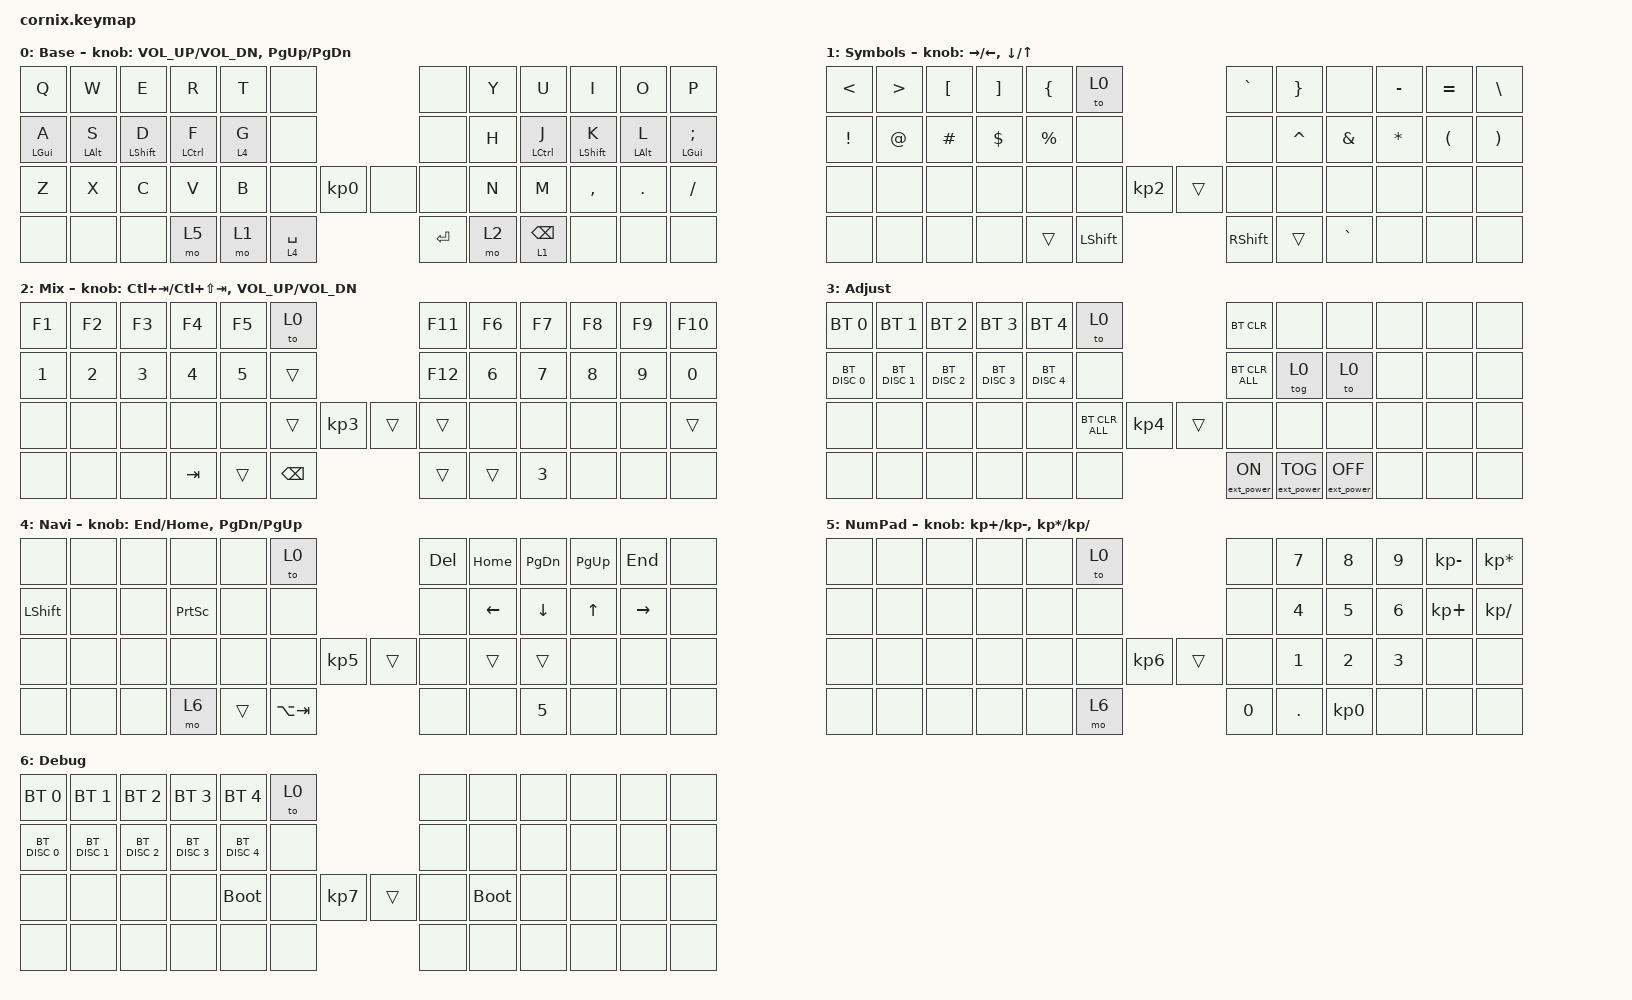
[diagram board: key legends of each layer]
/*
 * Copyright (c) 2020 The ZMK Contributors
 *
 * SPDX-License-Identifier: MIT
 */

#include "zmk-helpers/helper.h"
#include "includes/cornix54.h"

// Homerow mods — urob 流 "timeless homerow mods" (2026-06 再導入)
// 参考: https://github.com/urob/zmk-config/tree/main#timeless-homerow-mods
// 設計目標: 速い連打中は mod を一切出さず即タップ (require-prior-idle ゲート)、
//           一拍置いた単独 hold のみ mod 化する。Shift も含め全 mod 一律値。
// 旧 filterpaper/Townk 流 (prior-idle 0〜105) は速打時に Shift が暴発しテンポを
// 乱したため撤廃 (2026-05 の HM 撤去理由はこの設定ミスが主因と再診断)。

#define HM_TAPPING_TERM 280           // urob 流: 280ms (prior-idle ゲートがあるため長くても無害)
#define HM_PRIOR_IDLE 150             // urob 流: 150ms — timeless の肝。直前打鍵から 150ms 以内は即タップ
#define HM_QUICK_TAP 175              // urob 流: 175ms — 連打/リピート時の即時再タップ
#define COMBO_TERM 30          // 同指縦コンボ用: 指間ズレが無いので短く (ロール誤爆抑止)
#define COMBO_TERM_HORIZ 60    // 別指横並び用: 中指先行/相方指の遅れを吸収する緩め timeout
#define COMBO_TERM_WIDE 75     // index+小指 (J+; 等) 用: 小指の遅れを吸収 (FN 対策)
#define COMBO_IDLE 175         // combo 既定 require-prior-idle-ms: 打鍵流中は combo を無効化
#define BASE   0
#define LOWER  1
#define RAISE  2
#define ADJUST 3
#define NAVI   4
#define NUM    5
#define DEBUG  6

// https://github.com/urob/zmk-config/tree/main#timeless-homerow-mods

#define KEYS_L LT0 LT1 LT2 LT3 LT4 LT5 LM0 LM1 LM2 LM3 LM4 LM5 LB0 LB1 LB2 LB3 LB4 LB5  // left hand
#define KEYS_R RT0 RT1 RT2 RT3 RT4 RT5 RM0 RM1 RM2 RM3 RM4 RM5 RB0 RB1 RB2 RB3 RB4 RB5  // right hand
#define THUMBS LH1 LH0 RH0 RH1
#define KEYS_T LH1 LH0 RH0 RH1
#define ZMK_POINTING_DEFAULT_SCRL_VAL 15

#include <behaviors.dtsi>
#include <dt-bindings/zmk/bt.h>
#include <dt-bindings/zmk/ext_power.h>
#include <dt-bindings/zmk/keys.h>

/ {
    // Activate ADJUST layer by pressing raise and lower

    behaviors {
        hm_l: homerow_mods_left {
            compatible = "zmk,behavior-hold-tap";
            #binding-cells = <2>;
            bindings = <&kp>, <&kp>;

            flavor = "balanced";
            tapping-term-ms = <HM_TAPPING_TERM>;
            quick-tap-ms = <HM_QUICK_TAP>;
            require-prior-idle-ms = <HM_PRIOR_IDLE>;
            hold-trigger-key-positions = <KEYS_R KEYS_T>;
            hold-trigger-on-release;
        };

        hm_r: homerow_mods_right {
            compatible = "zmk,behavior-hold-tap";
            #binding-cells = <2>;
            bindings = <&kp>, <&kp>;

            flavor = "balanced";
            tapping-term-ms = <HM_TAPPING_TERM>;
            quick-tap-ms = <HM_QUICK_TAP>;
            require-prior-idle-ms = <HM_PRIOR_IDLE>;
            hold-trigger-key-positions = <KEYS_L KEYS_T>;
            hold-trigger-on-release;
        };

        // hm_shift_l / hm_shift_r (Townk 流 prior-idle=0) は 2026-06 に撤去。
        // 速打時の Shift 暴発源だったため、Shift も hm_l/hm_r の一律 timeless 値へ統一。
        /*
         * Non-Positional Homerow Mods
         * Used for &mm_grescm_gui behavior on left hand.
         *
         * Usage: &hm LSHFT T
         * Tap: T
         * Tap-Tap-Hold: Repeat T
         * Hold: LSHIFT
         */

        hm: homerow_mods {
            compatible = "zmk,behavior-hold-tap";
            #binding-cells = <2>;
            bindings = <&kp>, <&kp>;

            flavor = "balanced";
            tapping-term-ms = <HM_TAPPING_TERM>;
            quick-tap-ms = <200>;
        };

        bs_del: bs_del {
            compatible = "zmk,behavior-mod-morph";
            #binding-cells = <0>;
            bindings = <&kp BSPC>, <&kp DEL>;

            mods = <(MOD_LSFT|MOD_RSFT)>;
        };

        lt: layer_tap {
            compatible = "zmk,behavior-hold-tap";
            #binding-cells = <2>;
            bindings = <&mo>, <&kp>;

            flavor = "hold-preferred";
            tapping-term-ms = <HM_TAPPING_TERM>;
            quick-tap-ms = <200>;
        };

        // lt_g: tap-preferred layer-tap (used for G → Navi)
        // 値は main ブランチ準拠 (filterpaper 流の HM 定数を継承せず固定)
        // ユーザの打鍵感覚で main の挙動が最も自然と確認済み (2026-05-29)

        lt_g: layer_tap_g {
            compatible = "zmk,behavior-hold-tap";
            #binding-cells = <2>;
            bindings = <&mo>, <&kp>;

            flavor = "tap-preferred";
            tapping-term-ms = <250>;
            quick-tap-ms = <200>;
            require-prior-idle-ms = <70>;
        };

        // urob zmk-leader-key モジュール (2026-06 導入)
        // 開始キー (combo E+I) → 後続の並びで IDE ジェスチャ等を発火する namespace。
        // このモジュール版は timeout/layers/immediate-trigger を持たない:
        //   有効な並びが揃うまで待機し、無効キーで中断する (せかされない代わりに宙ぶらりんに注意)。
        // 並びはキーコード列 (README の <U S B>=“usb” と同形式)。bindings には任意 behavior/マクロ可。

        leader: leader {
            compatible = "zmk,behavior-leader-key";
            #binding-cells = <0>;

            ldr_cc {
                sequence = <C C>;
                bindings = <&ctrl_ctrl>;
            };    // leader→c c : Ctrl 二連打
            ldr_ss {
                sequence = <S S>;
                bindings = <&shift_shift>;
            };  // leader→s s : Shift 二連打
            // 追加例: ldr_run { sequence = <R>; bindings = <&kp F10 等>; };
            //   Run/Debug は IDE のショートカット (例 IntelliJ: Shift+F10/F9) を教われば足せる。
        };

        // === combo 用 mod-morph (shift / alt 連動) ===

        cm_quote: cm_quote {
            compatible = "zmk,behavior-mod-morph";
            #binding-cells = <0>;
            bindings = <&kp SQT>, <&kp DQT>;

            mods = <(MOD_LSFT|MOD_RSFT)>;
        };

        cm_lpar: cm_lpar {
            compatible = "zmk,behavior-mod-morph";
            #binding-cells = <0>;
            bindings = <&kp LPAR>, <&kp LT>;

            mods = <(MOD_LSFT|MOD_RSFT)>;
        };

        cm_rpar: cm_rpar {
            compatible = "zmk,behavior-mod-morph";
            #binding-cells = <0>;
            bindings = <&kp RPAR>, <&kp GT>;

            mods = <(MOD_LSFT|MOD_RSFT)>;
        };

        cm_lbkt: cm_lbkt {
            compatible = "zmk,behavior-mod-morph";
            #binding-cells = <0>;
            bindings = <&kp LBKT>, <&kp LBRC>;

            mods = <(MOD_LSFT|MOD_RSFT)>;
        };

        cm_rbkt: cm_rbkt {
            compatible = "zmk,behavior-mod-morph";
            #binding-cells = <0>;
            bindings = <&kp RBKT>, <&kp RBRC>;

            mods = <(MOD_LSFT|MOD_RSFT)>;
        };

        // df combo: 通常は leader、Alt 保持中は Tab (keep-mods で Alt を残し Alt+Tab に)

        df_lead: df_lead {
            compatible = "zmk,behavior-mod-morph";
            #binding-cells = <0>;
            bindings = <&leader>, <&kp TAB>;

            mods = <(MOD_LALT|MOD_RALT)>;
            keep-mods = <(MOD_LALT|MOD_RALT)>;
        };
    };

    conditional_layers {
        compatible = "zmk,conditional-layers";

        adjust_layer {
            if-layers = <2 1>;
            then-layer = <3>;
        };
    };

    combos {
        compatible = "zmk,combos";

        // 全 combo 共通: timeout-ms=COMBO_TERM(30) でロール誤爆抑止 / require-prior-idle-ms=COMBO_IDLE(175)。
        // 不発が出たら個別に timeout-ms を上げる。とくに「同指縦コンボ」(ws/ed/rf/tg/yh/uj/ik/ol,
        // sx/dc/fv/gb/hn/jm/k,/l.) は構造上ロール誤爆に強いが timeout=30 で不発になりやすい筆頭。
        // --- 編集 / ナビ ---

        cb_kp_esc {
            key-positions = <1 2>;
            bindings = <&kp ESC>;
            layers = <0>;
            timeout-ms = <COMBO_TERM>;
            require-prior-idle-ms = <COMBO_IDLE>;
        };  // W+E
        cb_kp_tab {
            key-positions = <13 14>;
            bindings = <&kp TAB>;
            layers = <0>;
            timeout-ms = <COMBO_TERM>;
            require-prior-idle-ms = <COMBO_IDLE>;
        };  // S+D
        cb_kp_del {
            key-positions = <8 9>;
            bindings = <&kp DEL>;
            layers = <0>;
            timeout-ms = <COMBO_TERM_HORIZ>;
            require-prior-idle-ms = <COMBO_IDLE>;
        };  // U+I  (横並び: 緩め)
        cb_kp_bs {
            key-positions = <9 10>;
            bindings = <&bs_del>;
            layers = <0>;
            timeout-ms = <COMBO_TERM_HORIZ>;
            require-prior-idle-ms = <COMBO_IDLE>;
        };  // I+O  (Shift=DEL, 横並び: 緩め)
        cb_kp_insert {
            key-positions = <10 20>;
            bindings = <&kp INS>;
            layers = <0>;
            timeout-ms = <COMBO_TERM_HORIZ>;
            require-prior-idle-ms = <COMBO_IDLE>;
        };  // O+J  (横並び: 緩め)
        cb_kp_enter {
            key-positions = <20 23>;
            bindings = <&kp ENTER>;
            layers = <0>;
            timeout-ms = <COMBO_TERM_WIDE>;
            require-prior-idle-ms = <COMBO_IDLE>;
        };  // J+; (widechord)
        cb_leader {
            key-positions = <14 15>;
            bindings = <&df_lead>;
            layers = <0>;
            timeout-ms = <COMBO_TERM>;
            require-prior-idle-ms = <COMBO_IDLE>;
        };  // D+F = leader / Alt+Tab
        // --- 記号 (単純 &kp) ---

        cb_at {
            key-positions = <1 13>;
            bindings = <&kp AT>;
            layers = <0>;
            timeout-ms = <COMBO_TERM>;
            require-prior-idle-ms = <COMBO_IDLE>;
        };  // W+S
        cb_hash {
            key-positions = <2 14>;
            bindings = <&kp HASH>;
            layers = <0>;
            timeout-ms = <COMBO_TERM>;
            require-prior-idle-ms = <COMBO_IDLE>;
        };  // E+D
        cb_dollar {
            key-positions = <3 15>;
            bindings = <&kp DOLLAR>;
            layers = <0>;
            timeout-ms = <COMBO_TERM>;
            require-prior-idle-ms = <COMBO_IDLE>;
        };  // R+F
        cb_percent {
            key-positions = <4 16>;
            bindings = <&kp PERCENT>;
            layers = <0>;
            timeout-ms = <COMBO_TERM>;
            require-prior-idle-ms = <COMBO_IDLE>;
        };  // T+G
        cb_caret {
            key-positions = <7 19>;
            bindings = <&kp CARET>;
            layers = <0>;
            timeout-ms = <COMBO_TERM>;
            require-prior-idle-ms = <COMBO_IDLE>;
        };  // Y+H
        cb_plus {
            key-positions = <8 20>;
            bindings = <&kp PLUS>;
            layers = <0>;
            timeout-ms = <COMBO_TERM>;
            require-prior-idle-ms = <COMBO_IDLE>;
        };  // U+J
        cb_asterisk {
            key-positions = <9 21>;
            bindings = <&kp ASTERISK>;
            layers = <0>;
            timeout-ms = <COMBO_TERM>;
            require-prior-idle-ms = <COMBO_IDLE>;
        };  // I+K
        cb_amp {
            key-positions = <10 22>;
            bindings = <&kp AMPERSAND>;
            layers = <0>;
            timeout-ms = <COMBO_TERM>;
            require-prior-idle-ms = <COMBO_IDLE>;
        };  // O+L
        cb_grave {
            key-positions = <13 25>;
            bindings = <&kp GRAVE>;
            layers = <0>;
            timeout-ms = <COMBO_TERM>;
            require-prior-idle-ms = <COMBO_IDLE>;
        };  // S+X
        cb_bslh {
            key-positions = <14 26>;
            bindings = <&kp BSLH>;
            layers = <0>;
            timeout-ms = <COMBO_TERM>;
            require-prior-idle-ms = <COMBO_IDLE>;
        };  // D+C
        cb_equal {
            key-positions = <15 27>;
            bindings = <&kp EQUAL>;
            layers = <0>;
            timeout-ms = <COMBO_TERM>;
            require-prior-idle-ms = <COMBO_IDLE>;
        };  // F+V
        cb_tilde {
            key-positions = <16 28>;
            bindings = <&kp TILDE>;
            layers = <0>;
            timeout-ms = <COMBO_TERM>;
            require-prior-idle-ms = <COMBO_IDLE>;
        };  // G+B (旧 Space を置換)
        cb_under {
            key-positions = <19 33>;
            bindings = <&kp UNDER>;
            layers = <0>;
            timeout-ms = <COMBO_TERM>;
            require-prior-idle-ms = <COMBO_IDLE>;
        };  // H+N
        cb_minus {
            key-positions = <20 34>;
            bindings = <&kp MINUS>;
            layers = <0>;
            timeout-ms = <COMBO_TERM>;
            require-prior-idle-ms = <COMBO_IDLE>;
        };  // J+M
        cb_fslh {
            key-positions = <21 35>;
            bindings = <&kp FSLH>;
            layers = <0>;
            timeout-ms = <COMBO_TERM>;
            require-prior-idle-ms = <COMBO_IDLE>;
        };  // K+,
        cb_pipe {
            key-positions = <22 36>;
            bindings = <&kp PIPE>;
            layers = <0>;
            timeout-ms = <COMBO_TERM>;
            require-prior-idle-ms = <COMBO_IDLE>;
        };  // L+.
        // --- 括弧 / 引用符 (shift 連動 mod-morph) ---

        cb_quote {
            key-positions = <20 22>;
            bindings = <&cm_quote>;
            layers = <0>;
            timeout-ms = <COMBO_TERM_HORIZ>;
            require-prior-idle-ms = <COMBO_IDLE>;
        };  // J+L: ' / "  (横並び: 緩め)
        cb_lpar {
            key-positions = <20 21>;
            bindings = <&cm_lpar>;
            layers = <0>;
            timeout-ms = <COMBO_TERM_HORIZ>;
            require-prior-idle-ms = <COMBO_IDLE>;
        };  // J+K: ( / <  (横並び: 緩め)
        cb_rpar {
            key-positions = <21 22>;
            bindings = <&cm_rpar>;
            layers = <0>;
            timeout-ms = <COMBO_TERM_HORIZ>;
            require-prior-idle-ms = <COMBO_IDLE>;
        };  // K+L: ) / >  (横並び: 緩め)
        cb_lbkt {
            key-positions = <34 35>;
            bindings = <&cm_lbkt>;
            layers = <0>;
            timeout-ms = <COMBO_TERM_HORIZ>;
            require-prior-idle-ms = <COMBO_IDLE>;
        };  // M+,: [ / {  (横並び: 緩め)
        cb_rbkt {
            key-positions = <35 36>;
            bindings = <&cm_rbkt>;
            layers = <0>;
            timeout-ms = <COMBO_TERM_HORIZ>;
            require-prior-idle-ms = <COMBO_IDLE>;
        };  // ,+.: ] / }  (横並び: 緩め)
        // --- Ins/Del 派生 ---

        cb_ctrl_ins {
            key-positions = <25 26>;
            bindings = <&kp LC(INS)>;
            layers = <0>;
            timeout-ms = <COMBO_TERM>;
            require-prior-idle-ms = <COMBO_IDLE>;
        };  // X+C
        cb_shift_ins {
            key-positions = <26 27>;
            bindings = <&kp LS(INS)>;
            layers = <0>;
            timeout-ms = <COMBO_TERM>;
            require-prior-idle-ms = <COMBO_IDLE>;
        };  // C+V
        cb_shift_del {
            key-positions = <25 27>;
            bindings = <&kp LS(DEL)>;
            layers = <0>;
            timeout-ms = <COMBO_TERM>;
            require-prior-idle-ms = <COMBO_IDLE>;
        };  // X+V
    };

    macros {
        // my_macro_zenhan (Alt+`) を撤去 (2026-06: zenhan combo 撤去で参照ゼロの dead code 化)。
        //   全/半 切替を再度キーに割り当てたくなったら、この Alt+` tap マクロを復活させる。
        // IDE ジェスチャ: 同一修飾の二連打 (host に double-tap として検出させる)
        // wait/tap を短めにして二打を「連続」と認識させる。IDE が拾わなければ値を調整。

        ctrl_ctrl: ctrl_ctrl {
            compatible = "zmk,behavior-macro";
            #binding-cells = <0>;
            wait-ms = <40>;
            tap-ms = <40>;
            bindings = <&kp LCTRL &kp LCTRL>;
            label = "CTRL_CTRL";
        };

        shift_shift: shift_shift {
            compatible = "zmk,behavior-macro";
            #binding-cells = <0>;
            wait-ms = <40>;
            tap-ms = <40>;
            bindings = <&kp LSHFT &kp LSHFT>;
            label = "SHIFT_SHIFT";
        };
    };

    keymap {
        compatible = "zmk,keymap";

        default_layer {
            display-name = "Base";

            // ------------------------------------------------------------------------------------------------------------
            // 36-key 有効レイアウト (Vim フレンドリー) — ホームポジション外側シフト版 (2026-06)
            // 内周列 (5/17/29 左・6/18/32 右) と外側親指 (38-40/47-49) を意図的に &none。文字を外側5列へ寄せた
            // 2026-06: urob 流 timeless homerow mods を再導入 (HM 全撤廃→combo 主義から回帰)。
            //   home 行 mod (urob 純正配列, 小指→人差し指):
            //     左 A=GUI S=ALT D=SHIFT F=CTRL / 右 J=CTRL K=SHIFT L=ALT ;=GUI
            //   G は lt_g 4 (Navi)、H は素のまま。修飾系 combo は全撤去し HRM に一本化。
            //   ' は K+; combo で発射、内周は &none。
            //
            // |  Q  |  W  |  E   |  R   |  T   |  -  |                   |  -  |  Y   |  U   |  I   |  O   |  ;  |
            // |  A⌘ |  S⌥ |  D⇧  |  F⌃  |  G   |  -  |                   |  -  |  H   |  J⌃  |  K⇧  |  L⌥  | ;⌘  |
            // |  Z  |  X  |  C   |  V   |  B   |  -  |  MUTE  |  |       |  -  |  N   |  M   |  ,   |  .   |  /  |
            //               |  -  |  -  | ESC/L5| L1  | SPACE/L4 |  | ENTER | L2 | BSPC/L1 |  -  |  -  |

            bindings = <
&kp Q         &kp W         &kp E          &kp R          &kp T      &none                                &none      &kp Y  &kp U            &kp I          &kp O         &kp P
&hm_l LGUI A  &hm_l LALT S  &hm_l LSHFT D  &hm_l LCTRL F  &lt_g 4 G  &none                                &none      &kp H  &hm_r LCTRL J    &hm_r LSHFT K  &hm_r LALT L  &hm_r LGUI SEMICOLON
&kp Z         &kp X         &kp C          &kp V          &kp B      &none        &kp KP_NUMBER_0  &none  &none      &kp N  &kp M            &kp COMMA      &kp DOT       &kp FSLH
&none         &none         &none          &mo 5          &mo 1      &lt 4 SPACE                          &kp ENTER  &mo 2  &lt 1 BACKSPACE  &none          &none         &none
            >;

            sensor-bindings = <&inc_dec_kp C_VOL_UP C_VOL_DN &inc_dec_kp PG_UP PG_DN>;
        };

        Symbol_layer {
            display-name = "Symbols";

            // TODO: Some binds are waiting for shifted keycode support.
            // -------------------------------
            // |       |  F1 |  F2 |  F3  |  F4  |  F5  |                   |  F6  |  F7   |  F8   |  F9  |  F10  |  F11  |
            // |   `   |  1  |  2  |  3   |  4   |  5   |                   |  6   |  7    |  8    |  9   |   0   |  F12  |
            // |       |  !  |  @  |  #   |  $   |  %   |                   |  ^   |  &    |  *    |  (   |   )   |   |   |
            // |       |  =  |  -  |  +   |  {   |  }   |        |  |       |  [   |  ]    |  ;    |  :   |   \   |       |
            //               |     |      |      |      |        |  |       |      |       |       |      |
            // 上段: 括弧類を集約 (2026-05-29、旧 vertical combo の代替)
            //   左 5 キー (Q W E R T) + Y に < > [ ] { } を配置
            //   右半身は - = \ ` の既存配置を維持
            // ホーム行: Shift+数字の記号 (! @ # $ % ^ & * ( )) — 変更なし
            //   ( ) はホーム行末尾 (L, ;) に既配置
            // 下段: 旧 LEFT_SHIFT / RIGHT_SHIFT は combo Shift で代替可能となったため除去

            bindings = <
&kp LT           &kp GT       &kp LBKT  &kp RBKT    &kp LBRC     &to 0                                    &kp GRAVE        &kp RBRC   &none          &kp MINUS     &kp EQUAL             &kp BACKSLASH
&kp EXCLAMATION  &kp AT_SIGN  &kp HASH  &kp DOLLAR  &kp PERCENT  &none                                    &none            &kp CARET  &kp AMPERSAND  &kp ASTERISK  &kp LEFT_PARENTHESIS  &kp RIGHT_PARENTHESIS
&none            &none        &none     &none       &none        &none           &kp KP_NUMBER_2  &trans  &none            &none      &none          &none         &none                 &none
&none            &none        &none     &none       &trans       &kp LEFT_SHIFT                           &kp RIGHT_SHIFT  &trans     &kp GRAVE      &none         &none                 &none
            >;

            // Symbols: 左=カーソル左右 / 右=カーソル上下 (記号入力中のカーソル微調整用)

            sensor-bindings = <&inc_dec_kp RIGHT LEFT &inc_dec_kp DOWN UP>;
        };

        Mix_layer {
            display-name = "Mix";

            // ------------------------------------------------------------------------------------------------------------
            // | BTCLR | BT1  | BT2  |  BT3  |  BT4  |  BT5 |                |      |      |       |      |       |       |
            // |       | INS  | PSCR | GUI   |       |      |                | PGUP |      |   ^   |      |       |       |
            // |       | ALT  | CTRL | SHIFT |       | CAPS |                | PGDN |   <- |   v   |  ->  |  DEL  | BKSPC |
            // |       | UNDO | CUT  | COPY  | PASTE |      |      |  |      |      |      |       |      |       |       |
            //                |      |       |       |      |      |  |      |      |      |       |      |

            bindings = <
&kp F1  &kp F2  &kp F3  &kp F4   &kp F5  &to 0                                   &kp F11  &kp F6  &kp F7  &kp F8  &kp F9  &kp F10
&kp N1  &kp N2  &kp N3  &kp N4   &kp N5  &trans                                  &kp F12  &kp N6  &kp N7  &kp N8  &kp N9  &kp N0
&none   &none   &none   &none    &none   &trans         &kp KP_NUMBER_3  &trans  &trans   &none   &none   &none   &none   &trans
&none   &none   &none   &kp TAB  &trans  &kp BACKSPACE                           &trans   &trans  &kp N3  &none   &none   &none
            >;

            // Mix: 左=ブラウザタブ切替 (Ctrl+Tab) / 右=音量 (メディアコントロール用)
            // ※ Alt+Tab は修飾キー維持が必要なため encoder では難しく見送り

            sensor-bindings = <&inc_dec_kp LC(TAB) LC(LS(TAB)) &inc_dec_kp C_VOL_UP C_VOL_DN>;
        };

        Adjust_layer {
            display-name = "Adjust";

            // ----------------------------------------------------------------------------------------------------------------------------
            // | BTCLR  |  BT1    |  BT2    |   BT3   |   BT4   |   BT5   |                  |      |      |       |      |       |       |
            // | moDEBUG| RGB_HUD | RGB_HUI | RGB_SAD | RGB_SAI | RGB_EFF |                  |      |      |       |      |       |       |
            // | EXTPWR | RGB_BRD | RGB_BRI |         |         |         |                  |      |      |       |      |       |       |
            // |        |         |         |         |         |         | RGB_TOG | |      |      |      |       |      |       |       |
            //                    |         |         |         |         |         | |      |      |      |       |      |

            bindings = <
&bt BT_SEL 0   &bt BT_SEL 1   &bt BT_SEL 2   &bt BT_SEL 3   &bt BT_SEL 4   &to 0                                    &bt BT_CLR        &none              &none              &none  &none  &none
&bt BT_DISC 0  &bt BT_DISC 1  &bt BT_DISC 2  &bt BT_DISC 3  &bt BT_DISC 4  &none                                    &bt BT_CLR_ALL    &tog 0             &to 0              &none  &none  &none
&none          &none          &none          &none          &none          &bt BT_CLR_ALL  &kp KP_NUMBER_4  &trans  &none             &none              &none              &none  &none  &none
&none          &none          &none          &none          &none          &none                                    &ext_power EP_ON  &ext_power EP_TOG  &ext_power EP_OFF  &none  &none  &none
            >;
        };

        Navi_layer {
            display-name = "Navi";
            bindings = <
&none           &none  &none  &none            &none   &to 0                                 &kp DELETE  &kp HOME  &kp PAGE_DOWN  &kp PG_UP  &kp END    &none
&kp LEFT_SHIFT  &none  &none  &kp PRINTSCREEN  &none   &none                                 &none       &kp LEFT  &kp DOWN       &kp UP     &kp RIGHT  &none
&none           &none  &none  &none            &none   &none        &kp KP_NUMBER_5  &trans  &none       &trans    &trans         &none      &none      &none
&none           &none  &none  &mo 6            &trans  &kp LA(TAB)                           &none       &none     &kp N5         &none      &none      &none
            >;

            // Navi: 左=行頭/行末 / 右=ページ上下 (大移動用)

            sensor-bindings = <&inc_dec_kp END HOME &inc_dec_kp PG_DN PG_UP>;
        };

        KeyPad_layer {
            display-name = "NumPad";
            bindings = <
&none  &none  &none  &none  &none  &to 0                           &none         &kp NUMBER_7  &kp NUMBER_8     &kp NUMBER_9  &kp KP_MINUS  &kp KP_MULTIPLY
&none  &none  &none  &none  &none  &none                           &none         &kp NUMBER_4  &kp NUMBER_5     &kp NUMBER_6  &kp KP_PLUS   &kp KP_DIVIDE
&none  &none  &none  &none  &none  &none  &kp KP_NUMBER_6  &trans  &none         &kp NUMBER_1  &kp NUMBER_2     &kp NUMBER_3  &none         &none
&none  &none  &none  &none  &none  &mo 6                           &kp NUMBER_0  &kp PERIOD    &kp KP_NUMBER_0  &none         &none         &none
            >;

            // NumPad: 左=+/- / 右=×/÷ (電卓的入力)

            sensor-bindings = <&inc_dec_kp KP_PLUS KP_MINUS &inc_dec_kp KP_MULTIPLY KP_DIVIDE>;
        };

        // Combo_layer 削除 (2026-05): 右手 HM 導入により sticky modifier combo が不要となり dead code 化
        // 旧 cb_kp_r-ctrl/shift/alt と入口だった lt_g 6 D も同時撤去済み

        Debug_layer {
            display-name = "Debug";

            // ----------------------------------------------------------------------------------------------------------------------------
            // | BTCLR  |  BT1    |  BT2    |   BT3   |   BT4   |   BT5   |                  |      |      |       |      |       |       |
            // | EXTPWR | BTCLR | RGB_HUI | RGB_SAD | RGB_SAI | RGB_EFF |                  |      |      |       |      |       |       |
            // |        | RGB_BRD | RGB_BRI |         |         |         |                  |      |      |       |      |       |       |
            // |        |         |         |         |         |         | RGB_TOG | |      |      |      |       |      |       |       |
            //                    |         |         |         |         |         | |      |      |      |       |      |

            bindings = <
&bt BT_SEL 0   &bt BT_SEL 1   &bt BT_SEL 2   &bt BT_SEL 3   &bt BT_SEL 4   &to 0                           &none  &none        &none  &none  &none  &none
&bt BT_DISC 0  &bt BT_DISC 1  &bt BT_DISC 2  &bt BT_DISC 3  &bt BT_DISC 4  &none                           &none  &none        &none  &none  &none  &none
&none          &none          &none          &none          &bootloader    &none  &kp KP_NUMBER_7  &trans  &none  &bootloader  &none  &none  &none  &none
&none          &none          &none          &none          &none          &none                           &none  &none        &none  &none  &none  &none
            >;
        };
    };
};
